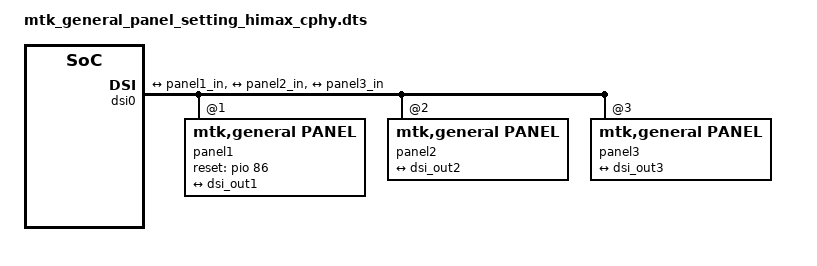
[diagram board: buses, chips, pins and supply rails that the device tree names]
// SPDX-License-Identifier: GPL-2.0+
/*
 * Copyright (c) 2019 MediaTek Inc.
 *
 */

// himax 83112A cphy panel driver setting
&dsi0 {
	panel1 {
		compatible = "mtk,general,panel";
		status = "okay";
		reg = <1>; /* !!! must set, if no, the panel not load !!! */
		reset-gpios = <&pio 86 0>; /* must set */
		/* must set, at least one pair <level delay_ms> */
		reset-sequence = <1 10>, <0 5>, <1 10>;
		pinctrl-names = "default";
		/* must set, for multi panel compatible support */
		panel-name = "hx83112a_vdo_144hz_cphy";
		lcm-dsi-lane-num = <3>; /* must set, can be 1/2/3/4 */
		/* must set, can be RGB88(0)/RGB66(1)/RGB666_PACKED(2)/RGB565(3) */
		lcm-dsi-format = <0>;
		/* must set, 0 CMD/1 SYNC_EVENT/2 BURST/4 SYNC PULSE */
		lcm-dsi-modeflag = <0xe05>;
		/* must set, dsi_type:0x23/0x29...
		 *			last:1 vc:0 ack:0 delay_ms
		 *			data_len data[0] data[1] ...
		 */
		lcm-init-cmd = [
			29 01 00 00 00 00 06 B9 83 12 2A 55 00
			39 01 00 00 00 00 03 51 0F FF
			15 01 00 00 00 00 02 53 24
			29 01 00 00 00 00 23 B1 1C 71 71 2D ED
			      52 2F 1B 22 22 00 00 12 33 E1 40
				  CD 44 1A 05 14 00 00 88 C4 CC CC CC
				  0F 88 12 00 00 D0
			23 01 00 00 00 00 02 E9 E5
			29 01 00 00 00 00 03 B1 FF A0
			23 01 00 00 00 00 02 E9 3F
			23 01 00 00 00 00 02 BD 01
			29 01 00 00 00 00 04 B1 01 23 00
			23 01 00 00 00 00 02 BD 00
			29 01 00 00 00 00 12 B2 00 6A 40 00 00 14
						76 00 41 00 00 11 00 00 00 15 27
			29 01 00 00 00 00 2D B4 00 3F 00 3F 00 3F
						00 3F 00 3F 00 3F 00 50 00 00 00
						13 00 27 07 07 07 00 00 00 00 00
						00 00 00 00 00 00 FF 00 FF 10 00
						02 2B 2B 2B 2B
			29 01 00 00 00 00 04 B6 86 86 03
			23 01 00 00 00 00 02 E9 CD
			29 01 00 00 00 00 04 BA 84 01 01
			23 01 00 00 00 00 02 E9 3F
			23 01 00 00 00 00 02 BD 02
			29 01 00 00 00 00 05 BA 70 03 A8 AD
			23 01 00 00 00 00 02 BD 03
			29 01 00 00 00 00 07 BA 00 00 20 C0 79 F8
			23 01 00 00 00 00 02 BD 00
			29 01 00 00 00 00 04 BC 33 02 04
			29 01 00 00 00 00 08 BF 00 41 80 1C 36 00 85
			23 01 00 00 00 00 02 BD 01
			29 01 00 00 00 00 04 BF 0A B3 69
			23 01 00 00 00 00 02 BD 02
			23 01 00 00 00 00 02 BF 70
			23 01 00 00 00 00 02 BD 00
			29 01 00 00 00 00 07 C0 09 09 44 22 88 D8
			23 01 00 00 00 00 02 E9 D2
			23 01 00 00 00 00 02 C0 FF
			23 01 00 00 00 00 02 E9 3F
			29 01 00 00 00 00 07 CB 00 13 38 00 04 93
			23 01 00 00 00 00 02 BD 01
			29 01 00 00 00 00 08 CB 1F 55 02 28 1C 08 1F
			23 01 00 00 00 00 02 BD 00
			23 01 00 00 00 00 02 CC 02
			29 01 00 00 00 00 03 CE 00 8A
			29 01 00 00 00 00 07 D0 07 C0 18 48 11 08
			29 01 00 00 00 00 05 D1 07 03 0C FD
			23 01 00 00 00 00 02 E9 C9
			23 01 00 00 00 00 02 D1 02
			23 01 00 00 00 00 02 E9 3F
			23 01 00 00 00 00 02 E9 C9
			23 01 00 00 00 00 02 C7 80
			23 01 00 00 00 00 02 E9 3F
			23 01 00 00 00 00 02 BD 01
			29 01 00 00 00 00 08 D2 00 00 00 01 00 00 70
			23 01 00 00 00 00 02 BD 00
			29 01 00 00 00 00 29 D3 00 C0 14 14 14 14 14 14
						14 00 03 03 03 10 01 0C 0C 0C 0C 0C 0C
						32 10 13 00 13 32 10 03 00 03 32 10 03
						00 03 00 00 FF 00
			23 01 00 00 00 00 02 BD 01
			23 01 00 00 00 00 02 D3 04
			23 01 00 00 00 00 02 E9 C9
			23 01 00 00 00 00 02 D3 04
			23 01 00 00 00 00 02 E9 3F
			23 01 00 00 00 00 02 BD 02
			29 01 00 00 00 00 10 D3 00 00 00 00 00 00 02 02 02 01 11 00 00 00 01
			23 01 00 00 00 00 02 BD 00
			29 01 00 00 00 00 31 D5 18 18 18 18 18 18 18 18 01 01
						00 00 03 03 02 02 C7 C7 C7 C7 C0 C0 C0 C0 C0
						C0 C0 C0 40 40 40 40 18 18 18 18 18 18 BE BE
						21 21 20 20 18 18 18 18
			29 01 00 00 00 00 31 D6 18 18 18 18 18 18 18 18 02 02
						03 03 00 00 01 01 C7 C7 C7 C7 18 18 C0 C0 C0
						C0 C0 C0 40 40 40 40 C0 C0 18 18 18 18 BE BE
						20 20 21 21 18 18 18 18
			23 01 00 00 00 00 02 BD 01
			29 01 00 00 00 00 25 D8 FF FF FF FF FF FA FF FF FF FF
						FF FA FF FF FF FF FF FA FF FF FF FF FF FA FF
						FF FF FF FF FA FF FF FF FF FF FA
			23 01 00 00 00 00 02 BD 02
			29 01 00 00 00 00 0D D8 FF FF FF FF FF FA FF FF FF FF FF FA
			23 01 00 00 00 00 02 BD 03
			29 01 00 00 00 00 19 D8 FF AA AA AF AA AA FF AA AA AF
						AA AA FF FF FF FF FF FA FF FF FF FF FF FA
			23 01 00 00 00 00 02 BD 00
			29 01 00 00 00 00 25 D8 AA FF FA AA AB AA AA FF FA AA
						AB AA AA FF FA AA AB AA AA FF FA AA AB AA
						AA FF FA AA AB AA AA FF FA AA AB AA
			29 01 00 00 00 00 04 D9 AF 04 02
			29 01 00 00 00 00 2F E0 00 0F 29 2E 37 71 85 8D 91 92
						93 92 90 8F 8D 8B 8A 8D 8F A7 B9 50 67 00
						0F 29 2E 37 71 85 8D 91 92 93 92 90 8F 8D
						8B 8A 8D 8F A7 B9 50 67
			29 01 00 00 00 00 40 E1 11 00 00 89 30 80 0A 00 03 20
						00 14 03 20 03 20 02 00 02 91 00 20 02 47
						00 0B 00 0C 05 0E 03 68 18 00 10 E0 03 0C
						20 00 06 0B 0B 33 0E 1C 2A 38 46 54 62 69
						70 77 79 7B 7D 7E 01 02 01 00 09
			23 01 00 00 00 00 02 BD 01
			29 01 00 00 00 00 1A E1 40 09 BE 19 FC 19 FA 19 F8 1A
						38 1A 78 1A B6 2A F6 2B 34 2B 74 3B 74 6B F4
			23 01 00 00 00 00 02 BD 03
			29 01 00 00 00 00 03 E1 01 3F
			23 01 00 00 00 00 02 BD 00
			29 01 00 00 00 00 0C E7 4F 05 05 64 52 21 03 1B 69 02 02
			23 01 00 00 00 00 02 E9 D8
			23 01 00 00 00 00 02 E7 18
			23 01 00 00 00 00 02 E9 3F
			23 01 00 00 00 00 02 BD 01
			29 01 00 00 00 00 0B E7 02 00 0A 01 04 04 0D 05 2A 0A
			23 01 00 00 00 00 02 BD 02
			29 01 00 00 00 00 23 E7 01 07 01 07 01 07 06 06 06 16 00
						16 81 02 40 00 1E 50 05 04 03 02 01 00 00 00
						00 00 00 00 00 00 00 00
			23 01 00 00 00 00 02 BD 00
			29 01 00 00 00 00 04 BE 80 00 F0
			23 01 00 00 00 00 02 BB 00
			23 01 00 00 00 00 02 E9 D0
			23 01 00 00 00 00 02 BB 38
			23 01 00 00 00 00 02 E9 3F
			29 01 00 00 00 00 06 B9 00 00 00 00 00
			05 01 00 00 50 00 01 11
			05 01 00 00 00 00 01 29
		];
		lcm-deinit-cmd = [ /* must set */
			05 01 00 00 50 00 01 28
			05 01 00 00 14 00 01 10 ];
		/* if backlight control by lcm, must set, according to ddic */
		backlight-max-level = <2047>;
		/* if backlight control by lcm pwm, must set */
		backlight-setting-cmd = [39 01 00 00 00 00 03 51 07 FF];
		/* Note: panel-pwr-supply@xxx must according to the power on sequence */
		//panel-pwr-supply@0 { /* must set at least one */
		//	reg = <0>;
		//	pwr-name = "v1_8"; /* must set, according regulator or gpio setting */
		//	pwr-ctrl-mode = "regulator"; /* must set, can be regulator/gpio/pmic */
		//  /* xxx-supply, xxx must according to pwr-name, must set */
		//	v1_8-supply = <&mt_pmic_vtp_ldo_reg>;
		//  /* regulator setting in lk */
		//	v1_8_lk-supply = <6360 8 0x15 0x40 0xff 0x00 0x11 0x1 0x1 0x6>;
		//	pwr-set-voltage = <1800000>; /* if power type is regulator, must set */
		//	delay_ms = <10>; /* must set, after power on this power, delay xxx ms */
		//};
		//panel-pwr-supply@1 {
		//	reg = <1>;
		//	pwr-name = "v1_0"; /* must set, can be regulator/gpio/pmic */
		//	v1_0-gpios = <&pio 108 0>; /* xxx-gpios, xxx must as pwr-name, must set */
		//	pwr-ctrl-mode = "gpio"; /* must set, can be regulator/gpio/pmic */
		/*if power type is gpio, must set, power on this power,
		 *		the gpio state should be
		 */
		//	pwr-high-level = <1>;
		//	delay_ms = <5>; /* must set, after power on this power, delay xxx ms */
		//};
		panel-pwr-supply@0 {
			reg = <2>;
			pwr-name = "demo";
			pwr-ctrl-mode = "pmic";
			delay_ms = <10>;
		};

		/* Note: mode@0 must be default mode */
		panel-mode-setting@0 { /* must set, at lease one */
			panel-mode-width = <1600>; /* must set */
			panel-mode-height = <2560>; /* must set */
			panel-mode-hfp = <100>; /* must set */
			panel-mode-hsa = <40>; /* must set */
			panel-mode-hbp = <60>; /* must set */
			panel-mode-vfp = <120>; /* must set */
			panel-mode-vsa = <4>; /* must set */
			panel-mode-vbp = <18>; /* must set */
			panel-mode-clock = <700359>; /* must set, htotal*vtotal*fps */
			panel-mode-vrefresh = <144>; /* k419 must set, k510 optional*/
			panel-mode-width_mm = <129>; /* optional */
			panel-mode-height_mm = <64>; /* optional */
		};
		/* Note: ext-param@0 must be default mode, nubmer of it must equal number of mode */
		panel-ext-param-setting@0 { /* must set, at lease one */
			ext-param-data_rate_khz = <816000>; /* must set, khz */
			ext-param-is_cphy = <1>; /* optional */
			ext-param-output_mode = <2>; /* optional, single/dsc_single/dsc_dual */
			/* must set in lk, can be 1(dsi0)/2(dsi1)/3(dsidual) */
			ext-param-lcm_if = <1>;
			ext-param-lcm_cmd_if = <2>; /* optional, single/dsc_single/dsc_dual */
			ext-param-ssc_disable = <1>; /* optional, can be 0/1 */
			ext-param-bdg_ssc_disable = <1>; /* optional, can be 0/1 */
			//ext-param-ssc_range = <0>; /* optional, if ssc_en=1, must set */
			//ext-param-lcm_color_mode = <0>; /* optional */
			//ext-param-min_luminance = <0>; /* optional */
			//ext-param-average_luminance = <0>; /* optional */
			//ext-param-max_luminance = <0>; /* optional */
			//ext-param-round_corner_en = <0>; /* optional */
			// /* optional, if round_corner_en=1 must set */
			//ext-param-corner_pattern_height = <0>;
			// /* optional, if round_corner_en=1 must set */
			//ext-param-corner_pattern_height_bot = <0>;
			// /* optional, if round_corner_en=1 must set */
			//ext-param-corner_pattern_tp_size = <0>;
			// /* optional, if round_corner_en=1 must set */
			//ext-param-corner_pattern_tp_size_l = <0>;
			// /* optional, if round_corner_en=1 must set */
			//ext-param-corner_pattern_tp_size_r = <0>;
			// /* optional, if round_corner_en=1 must set */
			//ext-param-corner_pattern_lt_addr = <0>;
			// /* optional, if round_corner_en=1 must set */
			//ext-param-corner_pattern_lt_addr_l = <0>;
			// /* optional, if round_corner_en=1 must set */
			//ext-param-corner_pattern_lt_addr_r = <0>;
			//ext-param-physical_width_um = <0>; /* optional */
			//ext-param-physical_height_um = <0>; /* optional */
			//ext-param-hbm_en_time = <0>; /* optional */
			//ext-param-hbm_dis_time = <0>; /* optional */
			//ext-param-lcm_index = <0>; /* optional */
			//ext-param-wait_sof_before_dec_vfp = <0>; /* optional */
			//ext-param-doze_delay = <0>; /* optional */
			//ext-param-lfr_enable = <0>; /* optional */
			//ext-param-lfr_minimum_fps = <0>; /* optional */
			//ext-param-cust_esd_check = <1>; /* optional */
			//ext-param-esd_check_enable = <0>; /* optional */
			// /* optional [cmd count par[0] mask[0]], type:u8 hex */
			//ext-param-lcm_esd_check_table = [0a 01 9c ff];
			//ext-param-vfp_lp = <0>; /* optional */
			//ext-param-bdg_lane_swap_en = <0>; /* optional */
			//ext-param-lane_swap_en = <1>; /* optional */
			/* optional, if lane_swap_en=1 or bdg_lane_swap_en=1, must be set,
			 *	can be 0/1/2/3/4 type:u32 hex
			 */
			//ext-param-lane_swap_data = <02 00 01 03 04 01
			//							00 01 02 03 04 00>;
			/* optional, if lane_swap_en=1 and is_cphy=1, must be set,
			 *	can be 0/1/2/3/4/5/6/7/8/9 type:u32 hex
			 */
			//ext-param-cphy_lane_swap_data =
			//					<00 01 02 03 04 05 06 07 08 09
			//					00 01 02 03 04 05 06 07 08 09>;
			//ext-param-bdg_dsc_enable = <1>; /* optional */
			ext-param-dsc_enable = <1>; /* optional */
			//ext-param-dual_dsc_enable = <0>;
			/* optional, if dsc_enable=1 or bdg_dsc_enable=1 must be set, can be 0/1 */
			ext-param-dsc_slice_mode = <0>;
			ext-param-dsc_pps = [
				11 00 00 89 30 80 0A 00 03 20 00 14 03 20 03 20
				02 00 02 91 00 20 02 47 00 0B 00 0C 05 0E 03 68
				18 00 10 E0 03 0C 20 00 06 0B 0B 33 0E 1C 2A 38
				46 54 62 69 70 77 79 7B 7D 7E 01 02 01 00 09 40
				09 BE 19 FC 19 FA 19 F8 1A 38 1A 78 1A B6 2A F6
				2B 34 2B 74 3B 74 6B F4 00 00 00 00 00 00 00 00
				00 00 00 00 00 00 00 00 00 00 00 00 00 00 00 00
				00 00 00 00 00 00 00 00 00 00 00 00 00 00 00 00];
			//ext-param-change_fps_vfp_send_cmd = <0>;
			//ext-param-vdo_per_frame_lp_enable = <0>;
			//ext-param-lp_perline_en = <0>;
			//ext-param-cmd_null_pkt_en = <0>;
			//ext-param-cmd_null_pkt_len = <0>;
			//ext-param-set_area_before_trigger = <0>;

			//ext-param-skip_unnecessary_switch;
			//ext-param-send_cmd_to_ddic = <0 0 1 2 0a 00>;
			//ext-param-spr_out_put_mode = <0>;
			//ext-param-panel_rotate = <0>;
			//ext-param-phy_timcon_setting {
			//	phy_timcon-hs_trail = <0>;
			//	phy_timcon-hs_prpr = <0>;
			//	phy_timcon-hs_zero = <0>;
			//	phy_timcon-lpx = <0>;
			//	phy_timcon-ta_get = <0>;
			//	phy_timcon-ta_sure = <0>;
			//	phy_timcon-ta_go = <0>;
			//	phy_timcon-da_hs_exit = <0>;
			//	phy_timcon-clk_trail = <0>;
			//	phy_timcon-cont_det = <0>;
			//	phy_timcon-da_hs_sync = <0>;
			//	phy_timcon-clk_zero = <0>;
			//	phy_timcon-clk_hs_prpr = <0>;
			//	phy_timcon-clk_hs_exit = <0>;
			//	phy_timcon-clk_hs_post = <0>;
			//};
			//ext-param-dyn_setting {
			//	dyn-switch_en = <0>;
			//	dyn-pll_clk = <0>;
			//	dyn-data_rate = <0>;
			//	dyn-vsa = <0>;
			//	dyn-vbp = <0>;
			//	dyn-vfp = <0>;
			//	dyn-vfp_lp_dyn = <0>;
			//	dyn-hsa = <0>;
			//	dyn-hbp = <0>;
			//	dyn-hfp = <0>;
			//	dyn-max_vfp_for_msync_dyn = <0>;
			//};
			//ext-param-dyn_fps_setting {
			//	dyn_fps-switch_en = <1>;
			//	dyn_fps-vact_timing_fps = <120>;
			//	//dyn_fps-data_rate = <0>;
			//	dyn_fps-switch_cmd_0 = <0 4 0xb9 0x83 0x10 0x21>;
			//	dyn_fps-switch_cmd_1 = <0 2 0xe2 0x00>;
			//	dyn_fps-switch_cmd_2 = <0 2 0xb9 0x00>;
			//};
		};
		port {
			panel1_in: endpoint {
				remote-endpoint = <&dsi_out1>;
			};
		};
	};
	panel2 {
		compatible = "mtk,general,panel";
		panel-name = "dsi 0 test2 panel";
		status = "okay";
		/* !!! must set, if no, the panel not load !!! */
		reg = <2>;
		/* set it if setting for sub path, will skip panel id check */
		//sub-path-panel;
		port {
			panel2_in: endpoint {
				remote-endpoint = <&dsi_out2>;
			};
		};
	};
	panel3 {
		status = "okay";
		compatible = "mtk,general,panel";
		reg = <3>; /* !!! must set, if no, the panel not load !!! */
		panel-name = "dsi0 test 3 panel";
		port {
			panel3_in: endpoint {
				remote-endpoint = <&dsi_out3>;
			};
		};
	};
	ports {
		port@1 {
			reg = <1>;
			dsi_out1: endpoint {
				remote-endpoint = <&panel1_in>;
			};
		};
		port@2 {
			reg = <2>;
			dsi_out2: endpoint {
				remote-endpoint = <&panel2_in>;
			};
		};
		port@3 {
			reg = <3>;
			dsi_out3: endpoint {
				remote-endpoint = <&panel3_in>;
			};
		};
		port@4 {
			reg = <4>;
			master_out: endpoint {
				remote-endpoint = <&slave_in>;
			};
		};
	};
};

//&dsi1 {
//	mediatek,dual-dsi-slave;
//	status = "okay";

//	panel4 {
//		compatible = "mtk,general,panel";
//		panel-name = "dsi 1 test4 panel";
//		status = "okay";
//		/* !!! must set, if no, the panel not load !!! */
//		reg = <4>;
//		/* set it if setting for sub path, will skip panel id check */
//		//sub-path-panel;
//		port {
//			panel4_in: endpoint {
//				remote-endpoint = <&dsi_out4>;
//			};
//		};
//	};
//	ports {
//		port@1 {
//			reg = <1>;
//			slave_in: endpoint {
//				remote-endpoint = <&master_out>;
//			};
//		};
//		port@2 {
//			reg = <4>;
//			dis_out4: endpoint {
//				remote-endpoint = <&panel4_in>;
//			};
//		};
//	};
//};
